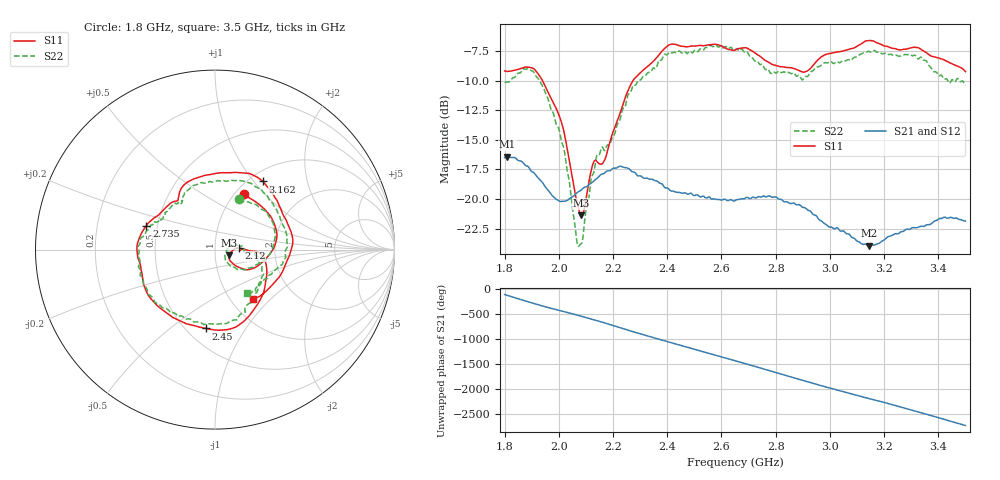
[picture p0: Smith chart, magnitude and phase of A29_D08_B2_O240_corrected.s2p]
! Created with skrf 1.9.0 (http://scikit-rf.org).
# Hz S RI R 50.0
!freq ReS11 ImS11 ReS21 ImS21 ReS12 ImS12 ReS22 ImS22
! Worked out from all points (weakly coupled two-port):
!   1601 points, 1.8 GHz to 3.5 GHz, reference 50 ohm
!   highest |S21| = -16.43 dB at 1.811 GHz (marker M1); lowest = -23.9 dB at 3.144 GHz (marker M2)
!   lowest |S11| = -21.4 dB at 2.083 GHz (marker M3), VSWR 1.19, Z = 58.5 - j3.72 ohm
!   |S11| at or under -10 dB: 1.94 GHz to 2.274 GHz (333.8 MHz wide, 15.8 % of centre)
!   |S22| runs from -24.0 to -7.0 dB; largest |S21 - S12| = 0.0028
!   S11 on the Smith chart (normalised r, x): 1.8 GHz: 1.10, +0.77; 2.12 GHz: 1.30, +0.02; 2.45 GHz: 0.62, -0.68; 2.735 GHz: 0.43, +0.14; 3.162 GHz: 1.15, +1.11; 3.5 GHz: 1.26, -0.78
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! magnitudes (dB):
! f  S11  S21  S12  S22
! 1.8 GHz  -9.2  -16.5  -16.5  -10.1
! 1.811 GHz  -9.2  -16.4  -16.4  -10.1
! 1.887 GHz  -8.9  -17.3  -17.3  -9.0
! 1.942 GHz  -10.1  -18.7  -18.7  -10.6
! 2.011 GHz  -13.6  -20.2  -20.2  -15.3
! 2.067 GHz  -20.3  -19.5  -19.5  -23.6
! 2.083 GHz  -21.4  -19.2  -19.2  -23.8
! 2.084 GHz  -21.4  -19.2  -19.2  -23.8
! 2.12 GHz  -17.5  -18.6  -18.6  -18.2
! 2.142 GHz  -16.9  -18.2  -18.2  -16.3
! 2.169 GHz  -16.7  -17.8  -17.8  -15.9
! 2.269 GHz  -10.2  -17.7  -17.6  -10.8
! 2.367 GHz  -7.9  -18.6  -18.5  -8.4
! 2.45 GHz  -7.1  -19.5  -19.5  -7.6
! 2.65 GHz  -7.4  -20.1  -20.1  -7.4
! 2.735 GHz  -7.8  -19.8  -19.8  -8.4
! 2.934 GHz  -8.8  -21.2  -21.2  -9.2
! 3.144 GHz  -6.6  -23.9  -23.9  -7.5
! 3.162 GHz  -6.7  -23.9  -23.8  -7.5
! 3.217 GHz  -7.2  -23.2  -23.1  -7.8
! 3.338 GHz  -7.4  -22.3  -22.3  -8.1
! 3.5 GHz  -9.2  -21.9  -21.8  -10.4
